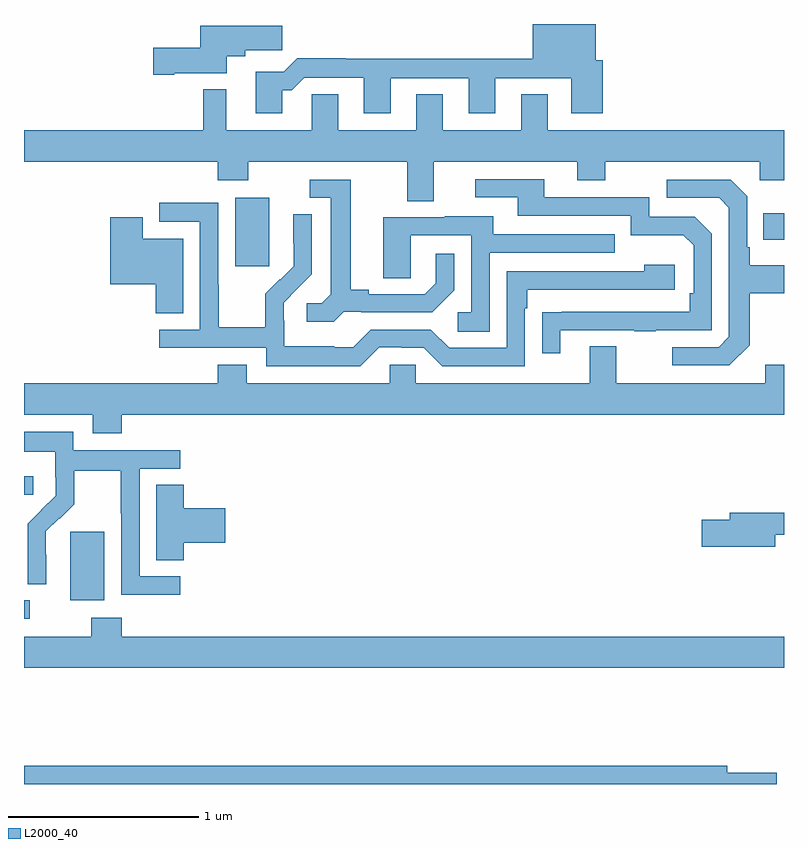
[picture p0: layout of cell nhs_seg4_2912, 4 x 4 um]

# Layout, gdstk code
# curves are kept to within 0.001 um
import gdstk
lib = gdstk.Library(unit=1e-6, precision=1e-09)
def R(c, l, rs):  # rectangles x0, y0, x1, y1
    for r in rs: c.add(gdstk.rectangle(r[:2], r[2:], *l))
def P(c, l, *ps):  # polygons
    for p in ps: c.add(gdstk.Polygon(p, *l))
L2000_40 = (2000, 40)

nhs_seg4_2912 = lib.new_cell('nhs_seg4_2912')
R(nhs_seg4_2912, L2000_40, [(265,771.771,265.03,771.867), (265.244,771.866,265.423,772.227), (265,772.422,265.048,772.519), (266.111,773.625,266.29,773.986), (268.891,773.765,269,773.905)])
P(nhs_seg4_2912, L2000_40, [(266.359,774.551),(266.408,774.551),(266.475,774.618),(266.789,774.618),(266.789,774.429),(266.929,774.429),(266.929,774.615),(267.341,774.615),(267.341,774.429),(267.481,774.429),(267.481,774.615),(267.881,774.615),(267.881,774.429),(268.046,774.429),(268.046,774.708),(268.009,774.708),(268.009,774.9),(267.677,774.9),(267.677,774.716),(266.693,774.716),(266.693,774.719),(266.438,774.719),(266.368,774.649),(266.219,774.649),(266.219,774.429),(266.359,774.429)],
  [(265.792,774.641),(266.068,774.641),(266.068,774.731),(266.164,774.731),(266.164,774.763),(266.359,774.763),(266.359,774.892),(265.928,774.892),(265.928,774.776),(265.68,774.776),(265.68,774.634),(265.792,774.634)],
  [(267.157,774.176),(267.911,774.176),(267.911,774.077),(268.059,774.077),(268.059,774.176),(268.872,774.176),(268.872,774.077),(269,774.077),(269,774.34),(267.757,774.34),(267.757,774.53),(267.617,774.53),(267.617,774.34),(267.205,774.34),(267.205,774.53),(267.065,774.53),(267.065,774.34),(266.653,774.34),(266.653,774.53),(266.514,774.53),(266.514,774.34),(266.065,774.34),(266.065,774.556),(265.944,774.556),(265.944,774.34),(265,774.34),(265,774.176),(266.021,774.176),(266.021,774.077),(266.181,774.077),(266.181,774.176),(267.017,774.176),(267.017,773.968),(267.157,773.968)],
  [(267.823,773.289),(268.213,773.289),(268.213,773.284),(268.325,773.284),(268.325,773.289),(268.62,773.289),(268.62,773.796),(268.53,773.886),(268.29,773.886),(268.29,773.988),(267.739,773.988),(267.739,774.084),(267.375,774.084),(267.375,773.988),(267.599,773.988),(267.599,773.892),(268.194,773.892),(268.194,773.789),(268.471,773.789),(268.524,773.736),(268.524,773.482),(268.504,773.482),(268.504,773.385),(267.727,773.384),(267.727,773.166),(267.823,773.166)],
  [(266.682,773.385),(266.776,773.385),(266.776,773.382),(267.148,773.382),(267.264,773.498),(267.264,773.692),(267.167,773.692),(267.167,773.535),(267.11,773.478),(266.815,773.478),(266.815,773.501),(266.719,773.501),(266.719,774.081),(266.505,774.081),(266.505,773.985),(266.615,773.985),(266.615,773.477),(266.568,773.43),(266.487,773.43),(266.487,773.333),(266.63,773.333)],
  [(268.819,773.209),(268.819,773.482),(269,773.482),(269,773.629),(268.819,773.629),(268.819,773.725),(268.806,773.725),(268.806,773.994),(268.719,774.081),(268.383,774.081),(268.383,773.985),(268.659,773.985),(268.71,773.934),(268.71,773.253),(268.656,773.199),(268.413,773.199),(268.413,773.103),(268.713,773.103)],
  [(266.871,773.199),(266.987,773.199),(266.987,773.196),(267.105,773.196),(267.201,773.1),(267.636,773.1),(267.636,773.405),(267.649,773.405),(267.649,773.502),(268.426,773.502),(268.426,773.632),(268.265,773.632),(268.265,773.598),(267.54,773.598),(267.54,773.196),(267.237,773.196),(267.141,773.292),(266.826,773.292),(266.733,773.199),(266.633,773.199),(266.633,773.203),(266.37,773.203),(266.37,773.337),(266.368,773.337),(266.368,773.434),(266.514,773.582),(266.514,773.9),(266.418,773.9),(266.418,773.746),(266.42,773.746),(266.42,773.624),(266.349,773.553),(266.346,773.556),(266.269,773.479),(266.269,773.305),(266.025,773.305),(266.025,773.528),(266.022,773.528),(266.022,773.958),(265.713,773.958),(265.713,773.859),(265.926,773.859),(265.926,773.292),(265.713,773.292),(265.713,773.196),(266.274,773.196),(266.274,773.099),(266.771,773.099)],
  [(267.45,773.697),(268.109,773.697),(268.109,773.793),(267.469,773.793),(267.469,773.887),(267.215,773.887),(267.215,773.883),(266.891,773.883),(266.891,773.563),(267.036,773.563),(267.036,773.787),(267.354,773.787),(267.354,773.382),(267.282,773.382),(267.282,773.281),(267.45,773.281)],
  [(265.837,773.77),(265.624,773.77),(265.624,773.884),(265.454,773.884),(265.454,773.531),(265.694,773.531),(265.694,773.377),(265.837,773.377)],
  [(265.514,772.844),(269,772.844),(269,773.107),(268.901,773.107),(268.901,773.008),(268.117,773.008),(268.117,773.203),(267.977,773.203),(267.977,773.008),(267.063,773.008),(267.063,773.106),(266.925,773.106),(266.925,773.008),(266.173,773.008),(266.173,773.107),(266.021,773.107),(266.021,773.008),(265,773.008),(265,772.844),(265.361,772.844),(265.361,772.745),(265.514,772.745)],
  [(265.822,771.993),(265.608,771.993),(265.608,772.56),(265.822,772.56),(265.822,772.656),(265.26,772.656),(265.26,772.753),(265,772.753),(265,772.649),(265.164,772.649),(265.164,772.515),(265.166,772.515),(265.166,772.418),(265.02,772.27),(265.02,771.952),(265.116,771.952),(265.115,772.229),(265.185,772.299),(265.188,772.296),(265.265,772.373),(265.265,772.548),(265.51,772.548),(265.51,772.324),(265.512,772.324),(265.512,771.895),(265.822,771.895)],
  [(265.841,772.169),(266.059,772.169),(266.059,772.352),(265.841,772.352),(265.841,772.475),(265.697,772.475),(265.697,772.078),(265.841,772.078)],
  [(268.954,772.211),(269,772.211),(269,772.328),(268.715,772.328),(268.715,772.292),(268.566,772.292),(268.566,772.15),(268.954,772.15)],
  [(269,771.676),(265.514,771.676),(265.514,771.775),(265.354,771.775),(265.354,771.676),(265,771.676),(265,771.512),(269,771.512)],
  [(268.963,770.96),(268.702,770.96),(268.702,770.996),(265,770.996),(265,770.9),(268.963,770.9)])

lib.write_gds('nhs_seg4_2912.gds')
